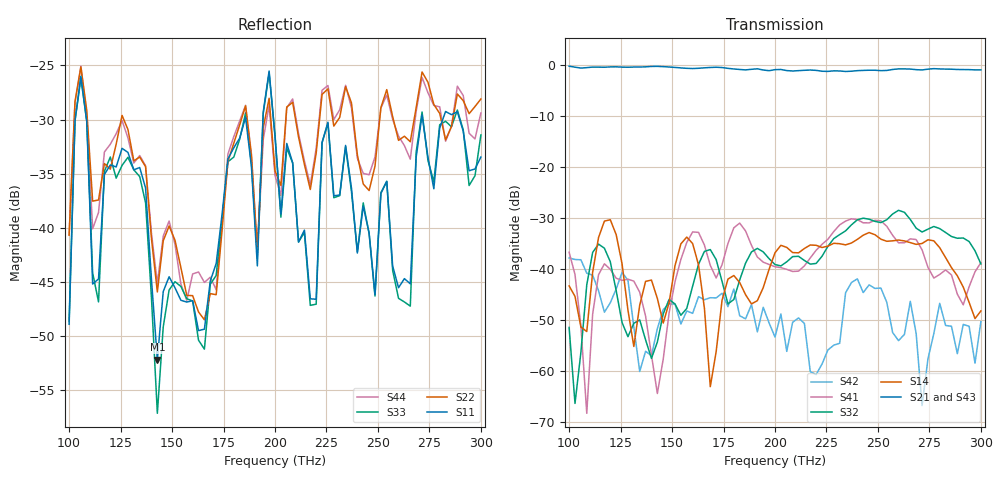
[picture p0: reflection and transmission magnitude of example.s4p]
!This S-parameter file was generated as part of the OIDT. This project was completed as part of research conducted with my major professor and advisor, Prof. Ata Zadehgol, at the Applied and Computational Electromagnetics Signal and Power Integrity (ACEM-SPI) Lab while working toward the Ph.D. in El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
!Created with skrf (http://scikit-rf.org).
# Hz S RI R 50.0
!freq ReS11 ImS11 ReS12 ImS12 ReS13 ImS13
! ReS14 ImS14
! ReS21 ImS21 ReS22 ImS22 ReS23 ImS23
! ReS24 ImS24
! ReS31 ImS31 ReS32 ImS32 ReS33 ImS33
! ReS34 ImS34
! ReS41 ImS41 ReS42 ImS42 ReS43 ImS43
! ReS44 ImS44
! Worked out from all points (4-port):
!   71 points, 100 THz to 300 THz, reference 50 ohm
!   strongest paths, dB at 100 THz, 148.6 THz, 200 THz, 251.4 THz, 300 THz:
!     S21: -0.3, -0.4, -0.9, -1.1, -1.0
!     S43: -0.4, -0.7, -1.0, -1.0, -0.9
!     S14: -43.3, -46.6, -36.8, -34.1, -48.2
!     S32: -51.4, -45.9, -39.1, -30.9, -39.0
!     S41: -36.7, -48.6, -39.5, -30.5, -38.7
!     S42: -37.8, -46.8, -53.3, -43.7, -50.3
!   lowest |S11| = -52.2 dB at 142.9 THz (marker M1), VSWR 1.00, Z = 49.8 - j0.0333 ohm
!   |S11| at or under -10 dB: start of sweep to end of sweep
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1.000033e14  -0.00356 -0.000504  0.9726 0.00498  0.0115 0.00337  0.00678 -0.000969
             0.9715 0.0119  -0.00799 -0.00468  0.0287 -0.00587  0.0102 0.00894
             0.0121 0.00343  0.00258 -0.000754  -0.00368 -0.000538  0.9673 0.00617
             0.0144 -0.00282  0.0105 0.0074  0.9557 0.0123  -0.00792 -0.00478
1.085751e14  -0.031 -0.000741  0.9217 0.00228  0.00559 0.00381  0.00211 0.00123
             0.9399 0.00846  -0.0328 -0.0117  0.000656 0.000262  0.00652 -0.00635
             0.00547 0.000311  0.00675 0.00189  -0.0311 -7.73e-05  0.9317 0.00532
             5.86e-05 0.000383  0.0084 -0.00357  0.9414 0.00839  -0.0317 -0.00981
1.171468e14  -0.0177 -2.64e-05  0.9339 0.00761  0.00939 -0.00014  0.0294 0.00259
             0.9484 0.0136  -0.0185 -0.00704  0.00819 -0.00365  0.000884 0.00375
             0.00764 0.00412  0.0158 -0.00281  -0.0182 -0.000467  0.9231 0.00263
             0.0104 -0.00439  0.00305 -0.00224  0.936 0.014  -0.0207 -0.00852
1.371474e14  -0.0153 -0.000827  0.9537 0.00338  0.00129 0.000192  0.00757 -0.000588
             0.957 0.00409  -0.019 -0.0023  0.00413 0.000857  0.0013 0.00151
             1.82e-05 3.69e-05  0.002 -0.000314  -0.013 -0.000856  0.9474 0.00363
             0.00339 -0.000722  -0.00131 -0.000867  0.9385 0.00459  -0.0192 -0.00265
1.428619e14  -0.00244 -0.000334  0.9575 0.00348  0.00138 0.000448  0.00508 -0.000875
             0.9677 0.00366  -0.0044 -0.0025  0.0106 0.00276  -9.56e-05 0.0016
             -0.000261 -0.00199  0.00187 0.000491  -0.00131 -0.000478  0.95 0.00452
             0.000501 -0.000338  0.0013 -0.00227  0.9379 0.00253  -0.0048 -0.00281
1.600053e14  -0.00447 -0.00116  0.9424 0.00392  0.00341 0.00139  0.0178 -0.000521
             0.9216 0.00312  -0.00424 -0.0024  0.00418 -0.00182  -0.000465 0.0045
             0.00358 0.000651  0.00679 0.000573  -0.00453 -0.000811  0.9141 0.00553
             0.023 0.00235  0.0028 -0.0024  0.9501 0.00644  -0.00556 -0.00259
3.0001e14  -0.0212 -0.00105  0.8656 0.011  8.95e-05 0.00349  0.00387 -0.000401
           0.8939 0.00577  -0.037 -0.0132  0.00516 0.000356  -0.00124 0.00559
           -0.00175 -0.0028  0.0111 -0.00203  -0.0268 -0.00154  0.8771 0.0123
           0.0115 0.000757  6.72e-05 -0.00306  0.8966 0.00452  -0.0321 -0.0109
